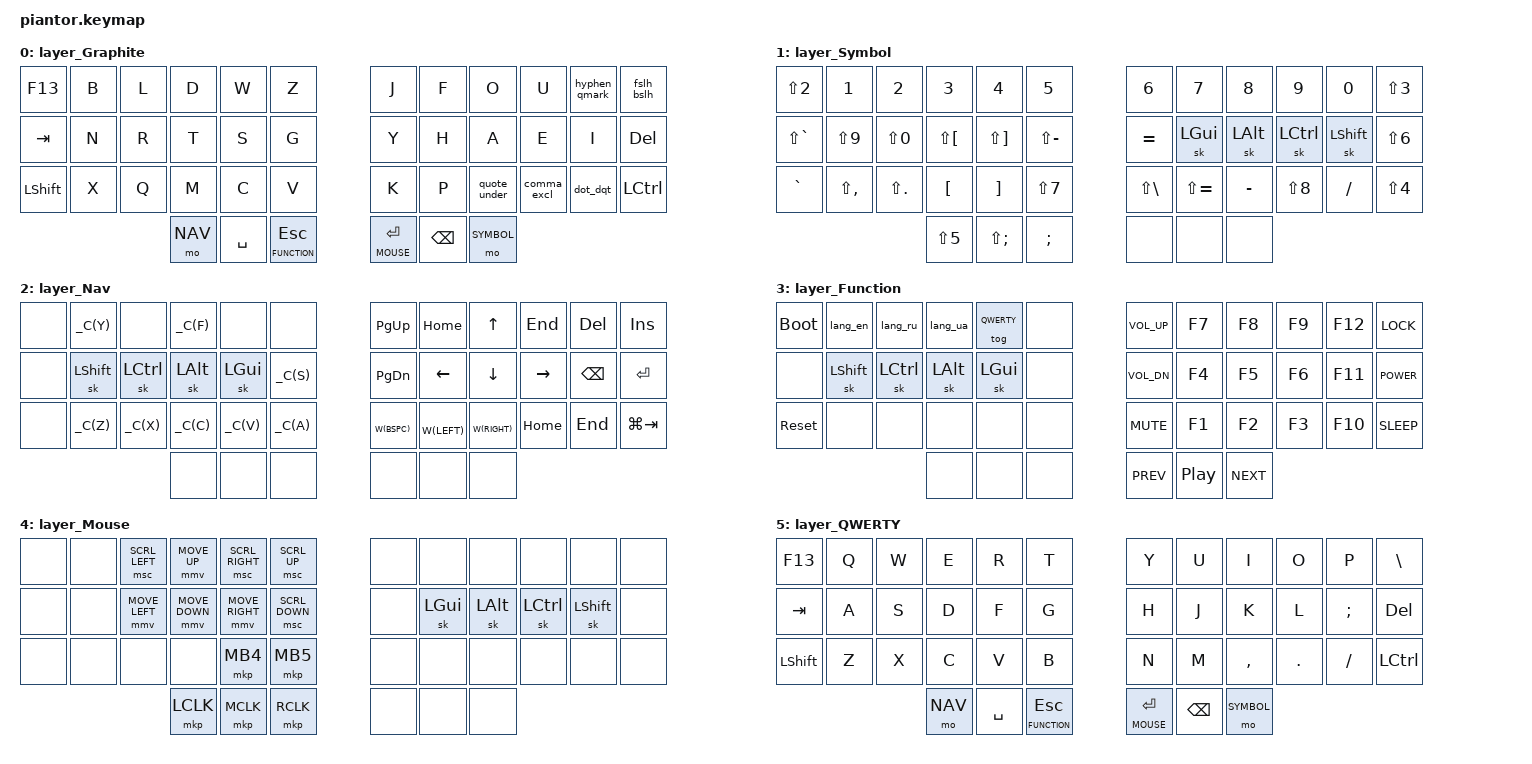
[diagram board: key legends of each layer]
/*
 * Copyright (c) 2020 The ZMK Contributors
 *
 * SPDX-License-Identifier: MIT
 */

#include <behaviors.dtsi>
#include <dt-bindings/zmk/keys.h>
#include <dt-bindings/zmk/mouse.h>

#define GRAPHITE 0
#define SYMBOL   1
#define NAV      2
#define FUNCTION 3
#define MOUSE    4
#define QWERTY   5

#define ALPHA_LAYERS GRAPHITE QWERTY

#define COMBO_TIMEOUT_MS 100

/*                    42 Keys
╭───────────────────────╮ ╭──────────────────────╮
│  0   1   2   3   4   5│ │ 6   7   8   9  10  11│
│ 12  13  14  15  16  17│ │18  19  20  21  22  23│
│ 24  25  26  27  28  29│ │30  31  32  33  34  35│
╰───────────╮ 36  37  38│ │39  40  41 ╭──────────╯
            ╰───────────╯ ╰───────────╯          */

#ifndef OPERATING_SYSTEM
    #define OPERATING_SYSTEM 1 // linux
    /* #define OPERATING_SYSTEM 2 // macos */
    /* #define OPERATING_SYSTEM 3 // windows */
#endif

#if OPERATING_SYSTEM == 2
    #define _C      LG
    #define _W      LA
    #define _LOCK   _C(LC(Q))
#elif OPERATING_SYSTEM == 1
    #define _C      LC
    #define _W      _C
    #define _LOCK   K_LOCK
#elif OPERATING_SYSTEM == 3
    #define _C      LC
    #define _W      _C
    #define _LOCK   LG(L)
#endif

#define _UNDO       _C(Z)
#define _CUT        _C(X)
#define _COPY       _C(C)
#define _PASTE      _C(V)
#define _SEL_ALL    _C(A)
#define _SAVE       _C(S)

// Symbol overrides for en-US
#ifndef KEYMAP_DRAWER
#undef  AMPS
#define AMPS  LS(N7)
#undef  AT
#define AT    LS(N2)
#undef  CARET
#define CARET LS(N6)
#undef  COLON
#define COLON LS(SEMI)
#undef  DLLR
#define DLLR  LS(N4)
#undef  DQT
#define DQT   LS(SQT)
#undef  EXCL
#define EXCL  LS(N1)
#undef  GT
#define GT    LS(DOT)
#undef  HASH
#define HASH  LS(N3)
#undef  LBRC
#define LBRC  LS(LBKT)
#undef  LPAR
#define LPAR  LS(N9)
#undef  LT
#define LT    LS(COMMA)
#undef  PIPE
#define PIPE  LS(BSLH)
#undef  PLUS
#define PLUS  LS(EQUAL)
#undef  PRCNT
#define PRCNT LS(N5)
#undef  QMARK
#define QMARK LS(FSLH)
#undef  RBRC
#define RBRC  LS(RBKT)
#undef  RPAR
#define RPAR  LS(N0)
#undef  STAR
#define STAR  LS(N8)
#undef  TILDE
#define TILDE LS(GRAVE)
#undef  UNDER
#define UNDER LS(MINUS)
#endif

// Mouse configuration
#define ZMK_MOUSE_DEFAULT_MOVE_VAL 2000
#define ZMK_MOUSE_DEFAULT_SCRL_VAL 20

&mmv {
    delay-ms = <0>;
    acceleration-exponent = <1>;
    time-to-max-speed-ms = <400>;
};

&msc {
    delay-ms = <0>;
    acceleration-exponent = <0>;
    time-to-max-speed-ms = <200>;
};

/ {
    macros {
        lang_en: lang_en {
            compatible = "zmk,behavior-macro";
            #binding-cells = <0>;
            bindings = <&to GRAPHITE>, <&kp LC(LS(LG(N1)))>;
        };

        lang_ru: lang_ru {
            compatible = "zmk,behavior-macro";
            #binding-cells = <0>;
            bindings = <&to QWERTY>, <&kp LC(LS(LG(N2)))>;
        };

        lang_ua: lang_ua {
            compatible = "zmk,behavior-macro";
            #binding-cells = <0>;
            bindings = <&to QWERTY>, <&kp LC(LS(LG(N3)))>;
        };
    };

    behaviors {
        quote_under: quote_and_underscore {
            compatible = "zmk,behavior-mod-morph";
            label = "QUOTE_AND_UNDERSCORE";
            #binding-cells = <0>;
            bindings = <&kp SQT>, <&kp UNDER>;
            mods = <(MOD_LSFT|MOD_RSFT)>;
        };

        hyphen_qmark: hyphen_and_question {
            compatible = "zmk,behavior-mod-morph";
            label = "HYPHEN_AND_QUESTION";
            #binding-cells = <0>;
            bindings = <&kp MINUS>, <&kp QMARK>;
            mods = <(MOD_LSFT|MOD_RSFT)>;
        };

        comma_excl: comma_and_excl {
            compatible = "zmk,behavior-mod-morph";
            label = "COMMA_AND_EXCL";
            #binding-cells = <0>;
            bindings = <&kp COMMA>, <&kp EXCL>;
            mods = <(MOD_LSFT|MOD_RSFT)>;
        };

        dot_dqt: dot_and_dqt {
            compatible = "zmk,behavior-mod-morph";
            label = "DOT_AND_DQT";
            #binding-cells = <0>;
            bindings = <&kp DOT>, <&kp DQT>;
            mods = <(MOD_LSFT|MOD_RSFT)>;
        };

        fslh_bslh: fslh_and_bslh {
            compatible = "zmk,behavior-mod-morph";
            label = "FSLH_AND_BSLH";
            #binding-cells = <0>;
            bindings = <&kp FSLH>, <&kp BSLH>;
            mods = <(MOD_LSFT|MOD_RSFT)>;
        };

        w_caps: capsword_and_capslock {
            compatible = "zmk,behavior-mod-morph";
            label = "CAPSWORD_AND_CAPSLOCK";
            #binding-cells = <0>;
            bindings = <&caps_word>, <&kp CAPS>;
            mods = <(MOD_LSFT|MOD_RSFT)>;
        };

        behavior_caps_word {
            continue-list = <
                UNDERSCORE MINUS
                BACKSPACE DELETE
                N1 N2 N3 N4 N5 N6 N7 N8 N9 N0
            >;
        };
    };

    combos {
        compatible = "zmk,combos";

        // CapsWord/Lock: G+Y (inner home row gap)
        combo_caps {
            bindings = <&w_caps>;
            key-positions = <17 18>;
            layers = <ALPHA_LAYERS>;
            timeout-ms = <COMBO_TIMEOUT_MS>;
        };

        // GUI: TAB+N (left pinky home row)
        combo_gui {
            bindings = <&kp LGUI>;
            key-positions = <12 13>;
            layers = <ALPHA_LAYERS>;
            timeout-ms = <COMBO_TIMEOUT_MS>;
        };

        // ALT: LSFT+X (left pinky bottom row)
        combo_alt {
            bindings = <&kp LALT>;
            key-positions = <24 25>;
            layers = <ALPHA_LAYERS>;
            timeout-ms = <COMBO_TIMEOUT_MS>;
        };

        // GUI: I+DEL (right pinky home row)
        combo_rgui {
            bindings = <&kp LGUI>;
            key-positions = <22 23>;
            layers = <ALPHA_LAYERS>;
            timeout-ms = <COMBO_TIMEOUT_MS>;
        };

        // ALT: .+LCTL (right pinky bottom row)
        combo_ralt {
            bindings = <&kp LALT>;
            key-positions = <34 35>;
            layers = <ALPHA_LAYERS>;
            timeout-ms = <COMBO_TIMEOUT_MS>;
        };
    };

    keymap {
        compatible = "zmk,keymap";

        layer_Graphite {
            bindings = <
                &kp F13    &kp B  &kp L  &kp D    &kp W      &kp Z                               &kp J          &kp F     &kp O         &kp U        &hyphen_qmark  &fslh_bslh
                &kp TAB    &kp N  &kp R  &kp T    &kp S      &kp G                               &kp Y          &kp H     &kp A         &kp E        &kp I          &kp DEL
                &kp LSHFT  &kp X  &kp Q  &kp M    &kp C      &kp V                               &kp K          &kp P     &quote_under  &comma_excl  &dot_dqt       &kp LCTRL
                                         &mo NAV  &kp SPACE  &lt FUNCTION ESC                    &lt MOUSE RET  &kp BSPC  &mo SYMBOL
            >;
        };

        layer_Symbol {
            bindings = <
                &kp AT     &kp N1    &kp N2    &kp N3     &kp N4     &kp N5                      &kp N6    &kp N7    &kp N8     &kp N9     &kp N0     &kp HASH
                &kp TILDE  &kp LPAR  &kp RPAR  &kp LBRC   &kp RBRC   &kp UNDER                   &kp EQUAL &sk LGUI  &sk LALT   &sk LCTRL  &sk LSHFT  &kp CARET
                &kp GRAVE  &kp LT    &kp GT    &kp LBKT   &kp RBKT   &kp AMPS                    &kp PIPE  &kp PLUS  &kp MINUS  &kp STAR   &kp FSLH   &kp DLLR
                                               &kp PRCNT  &kp COLON  &kp SEMI                    &none     &none     &none
            >;
        };

        layer_Nav {
            bindings = <
                &none  &kp _C(Y)   &none       &kp _C(F)  &none      &none                       &kp PG_UP     &kp HOME      &kp UP         &kp END    &kp DEL   &kp INS
                &none  &sk LSHFT   &sk LCTRL   &sk LALT   &sk LGUI   &kp _SAVE                   &kp PG_DN     &kp LEFT      &kp DOWN       &kp RIGHT  &kp BSPC  &kp RET
                &none  &kp _UNDO   &kp _CUT    &kp _COPY  &kp _PASTE &kp _SEL_ALL                &kp _W(BSPC)  &kp _W(LEFT)  &kp _W(RIGHT)  &kp HOME   &kp END   &kp LG(TAB)
                                               &none      &none      &none                       &none         &none         &none
            >;
        };

        layer_Function {
            bindings = <
                &bootloader  &lang_en   &lang_ru   &lang_ua  &tog QWERTY &none                   &kp C_VOL_UP  &kp F7  &kp F8  &kp F9  &kp F12  &kp _LOCK
                &none        &sk LSHFT  &sk LCTRL  &sk LALT  &sk LGUI    &none                   &kp C_VOL_DN  &kp F4  &kp F5  &kp F6  &kp F11  &kp K_POWER
                &sys_reset   &none      &none      &none     &none       &none                   &kp C_MUTE    &kp F1  &kp F2  &kp F3  &kp F10  &kp C_SLEEP
                                                   &none     &none       &none                   &kp C_PREV    &kp C_PP  &kp C_NEXT
            >;
        };

        layer_Mouse {
            bindings = <
                &none  &none &msc SCRL_LEFT  &mmv MOVE_UP    &msc SCRL_RIGHT  &msc SCRL_UP       &none  &none     &none      &none     &none      &none
                &none  &none &mmv MOVE_LEFT  &mmv MOVE_DOWN  &mmv MOVE_RIGHT  &msc SCRL_DOWN     &none  &sk LGUI  &sk LALT   &sk LCTRL &sk LSHFT  &none
                &none  &none &none           &none           &mkp MB4         &mkp MB5           &none  &none     &none      &none     &none      &none
                                             &mkp LCLK       &mkp MCLK        &mkp RCLK          &none  &none     &none
            >;
        };

        layer_QWERTY {
            bindings = <
                &kp F13    &kp Q  &kp W  &kp E    &kp R      &kp T                               &kp Y          &kp U     &kp I      &kp O    &kp P     &kp BSLH
                &kp TAB    &kp A  &kp S  &kp D    &kp F      &kp G                               &kp H          &kp J     &kp K      &kp L    &kp SEMI  &kp DEL
                &kp LSHFT  &kp Z  &kp X  &kp C    &kp V      &kp B                               &kp N          &kp M     &kp COMMA  &kp DOT  &kp FSLH  &kp LCTRL
                                         &mo NAV  &kp SPACE  &lt FUNCTION ESC                    &lt MOUSE RET  &kp BSPC  &mo SYMBOL
            >;
        };
    };
};
